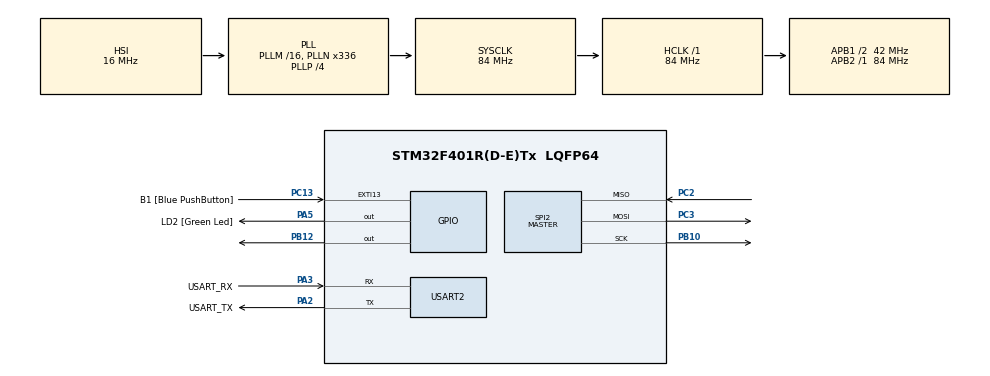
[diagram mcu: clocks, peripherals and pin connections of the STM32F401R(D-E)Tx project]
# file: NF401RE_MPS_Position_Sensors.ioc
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Mcu.Family=STM32F4
Mcu.Name=STM32F401R(D-E)Tx
Mcu.Package=LQFP64
NVIC.PriorityGroup=NVIC_PRIORITYGROUP_0
PA13.GPIO_Label=TMS
PA13.Mode=Serial_Wire
PA13.Signal=SYS_JTMS-SWDIO
PA14.GPIO_Label=TCK
PA14.Mode=Serial_Wire
PA14.Signal=SYS_JTCK-SWCLK
PA2.GPIO_Label=USART_TX
PA2.GPIO_Mode=GPIO_MODE_AF_PP
PA2.GPIO_PuPd=GPIO_NOPULL
PA2.GPIO_Speed=GPIO_SPEED_FREQ_LOW
PA2.Mode=Asynchronous
PA2.Signal=USART2_TX
PA3.GPIO_Label=USART_RX
PA3.GPIO_Mode=GPIO_MODE_AF_PP
PA3.GPIO_PuPd=GPIO_NOPULL
PA3.GPIO_Speed=GPIO_SPEED_FREQ_LOW
PA3.Mode=Asynchronous
PA3.Signal=USART2_RX
PA5.GPIO_Label=LD2 [Green Led]
PA5.GPIO_Mode=GPIO_MODE_OUTPUT_PP
PA5.GPIO_PuPd=GPIO_NOPULL
PA5.GPIO_Speed=GPIO_SPEED_FREQ_LOW
PA5.Signal=GPIO_Output
PB10.Mode=Full_Duplex_Master
PB10.Signal=SPI2_SCK
PB12.Signal=GPIO_Output
PB3.GPIO_Label=SWO
PB3.Signal=SYS_JTDO-SWO
PC13-ANTI_TAMP.GPIO_Label=B1 [Blue PushButton]
PC13-ANTI_TAMP.GPIO_ModeDefaultEXTI=GPIO_MODE_IT_FALLING
PC13-ANTI_TAMP.GPIO_PuPd=GPIO_NOPULL
PC13-ANTI_TAMP.Signal=GPXTI13
PC14-OSC32_IN.Mode=LSE-External-Oscillator
PC14-OSC32_IN.Signal=RCC_OSC32_IN
PC15-OSC32_OUT.Mode=LSE-External-Oscillator
PC15-OSC32_OUT.Signal=RCC_OSC32_OUT
PC2.Mode=Full_Duplex_Master
PC2.Signal=SPI2_MISO
PC3.Mode=Full_Duplex_Master
PC3.Signal=SPI2_MOSI
PH0\ -\ OSC_IN.Mode=HSE-External-Clock-Source
PH0\ -\ OSC_IN.Signal=RCC_OSC_IN
PH1\ -\ OSC_OUT.Mode=HSE-External-Clock-Source
PH1\ -\ OSC_OUT.Signal=RCC_OSC_OUT
ProjectManager.HeapSize=0x200
ProjectManager.StackSize=0x400
ProjectManager.TargetToolchain=Makefile
RCC.48MHZClocksFreq_Value=48000000
RCC.AHBFreq_Value=84000000
RCC.APB1CLKDivider=RCC_HCLK_DIV2
RCC.APB1Freq_Value=42000000
RCC.APB1TimFreq_Value=84000000
RCC.APB2Freq_Value=84000000
RCC.APB2TimFreq_Value=84000000
RCC.CortexFreq_Value=84000000
RCC.HCLKFreq_Value=84000000
RCC.HSE_VALUE=8000000
RCC.HSI_VALUE=16000000
RCC.PLLN=336
RCC.PLLP=RCC_PLLP_DIV4
RCC.PLLQ=7
RCC.SYSCLKFreq_VALUE=84000000
RCC.SYSCLKSource=RCC_SYSCLKSOURCE_PLLCLK
RCC.VCOOutputFreq_Value=336000000
SPI2.BaudRatePrescaler=SPI_BAUDRATEPRESCALER_16
SPI2.CLKPhase=SPI_PHASE_2EDGE
SPI2.CLKPolarity=SPI_POLARITY_HIGH
SPI2.DataSize=SPI_DATASIZE_16BIT
SPI2.Direction=SPI_DIRECTION_2LINES
SPI2.Mode=SPI_MODE_MASTER
SPI2.VirtualType=VM_MASTER
USART2.VirtualMode=VM_ASYNC
board=NUCLEO-F401RE

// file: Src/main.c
/* USER CODE BEGIN Header */
/**
  ******************************************************************************
  * @file           : main.c
  * @brief          : Main program body
  ******************************************************************************
  * @attention
  *
  * <h2><center>&copy; Copyright (c) 2020 STMicroelectronics.
  * All rights reserved.</center></h2>
  *
  * This software component is licensed by ST under BSD 3-Clause license,
  * the "License"; You may not use this file except in compliance with the
  * License. You may obtain a copy of the License at:
  *                        opensource.org/licenses/BSD-3-Clause
  *
  ******************************************************************************
  */
/* USER CODE END Header */

#include "main.h"
#include "spi.h"
#include "usart.h"
#include "gpio.h"

/* USER CODE BEGIN Includes */
#include <stdio.h>
#include <stdint.h>
/* USER CODE END Includes */

/* USER CODE BEGIN PD */

#ifdef __GNUC__
#define PUTCHAR_PROTOTYPE int __io_putchar(int ch)
#else
#define PUTCHAR_PROTOTYPE int fputc(int ch, FILE *f)
#endif /* __GNUC__ */

/* USER CODE END PD */

void SystemClock_Config(void);

/* USER CODE BEGIN 0 */
void __io_putchar(uint8_t ch) {
  HAL_UART_Transmit(&huart2, &ch, 1, 1);
}
/* USER CODE END 0 */

int main(void)
{

  /* MCU Configuration--------------------------------------------------------*/

  /* Reset of all peripherals, Initializes the Flash interface and the Systick. */
  HAL_Init();

  /* Configure the system clock */
  SystemClock_Config();

  /* Initialize all configured peripherals */
  MX_GPIO_Init();
  MX_SPI2_Init();
  MX_USART2_UART_Init();
  /* USER CODE BEGIN 2 */
  setbuf(stdout, NULL );
  HAL_GPIO_WritePin(GPIOB, GPIO_PIN_12, GPIO_PIN_SET);
  /* USER CODE END 2 */

  /* Infinite loop */
  /* USER CODE BEGIN WHILE */

  printf("%s,%s\r\n",__DATE__,__TIME__);
  uint16_t rxdata;
  while (1)
  {
    HAL_GPIO_WritePin(GPIOB, GPIO_PIN_12, GPIO_PIN_RESET);
    HAL_SPI_Receive(&hspi2, &rxdata, 1, 100);
    HAL_GPIO_WritePin(GPIOB, GPIO_PIN_12, GPIO_PIN_SET);
    printf("%d\r\n", rxdata);
    HAL_Delay(10);
    HAL_GPIO_TogglePin(GPIOA, GPIO_PIN_5);
    /* USER CODE END WHILE */

  }
}

void SystemClock_Config(void)
{
  RCC_OscInitTypeDef RCC_OscInitStruct = {0};
  RCC_ClkInitTypeDef RCC_ClkInitStruct = {0};

  /** Configure the main internal regulator output voltage
  */
  __HAL_RCC_PWR_CLK_ENABLE();
  __HAL_PWR_VOLTAGESCALING_CONFIG(PWR_REGULATOR_VOLTAGE_SCALE2);
  /** Initializes the CPU, AHB and APB busses clocks
  */
  RCC_OscInitStruct.OscillatorType = RCC_OSCILLATORTYPE_HSI;
  RCC_OscInitStruct.HSIState = RCC_HSI_ON;
  RCC_OscInitStruct.HSICalibrationValue = RCC_HSICALIBRATION_DEFAULT;
  RCC_OscInitStruct.PLL.PLLState = RCC_PLL_ON;
  RCC_OscInitStruct.PLL.PLLSource = RCC_PLLSOURCE_HSI;
  RCC_OscInitStruct.PLL.PLLM = 16;
  RCC_OscInitStruct.PLL.PLLN = 336;
  RCC_OscInitStruct.PLL.PLLP = RCC_PLLP_DIV4;
  RCC_OscInitStruct.PLL.PLLQ = 7;
  if (HAL_RCC_OscConfig(&RCC_OscInitStruct) != HAL_OK)
  {
    Error_Handler();
  }
  /** Initializes the CPU, AHB and APB busses clocks
  */
  RCC_ClkInitStruct.ClockType = RCC_CLOCKTYPE_HCLK|RCC_CLOCKTYPE_SYSCLK
                              |RCC_CLOCKTYPE_PCLK1|RCC_CLOCKTYPE_PCLK2;
  RCC_ClkInitStruct.SYSCLKSource = RCC_SYSCLKSOURCE_PLLCLK;
  RCC_ClkInitStruct.AHBCLKDivider = RCC_SYSCLK_DIV1;
  RCC_ClkInitStruct.APB1CLKDivider = RCC_HCLK_DIV2;
  RCC_ClkInitStruct.APB2CLKDivider = RCC_HCLK_DIV1;

  if (HAL_RCC_ClockConfig(&RCC_ClkInitStruct, FLASH_LATENCY_2) != HAL_OK)
  {
    Error_Handler();
  }
}

void Error_Handler(void)
{
}

/************************ (C) COPYRIGHT STMicroelectronics *****END OF FILE****/
